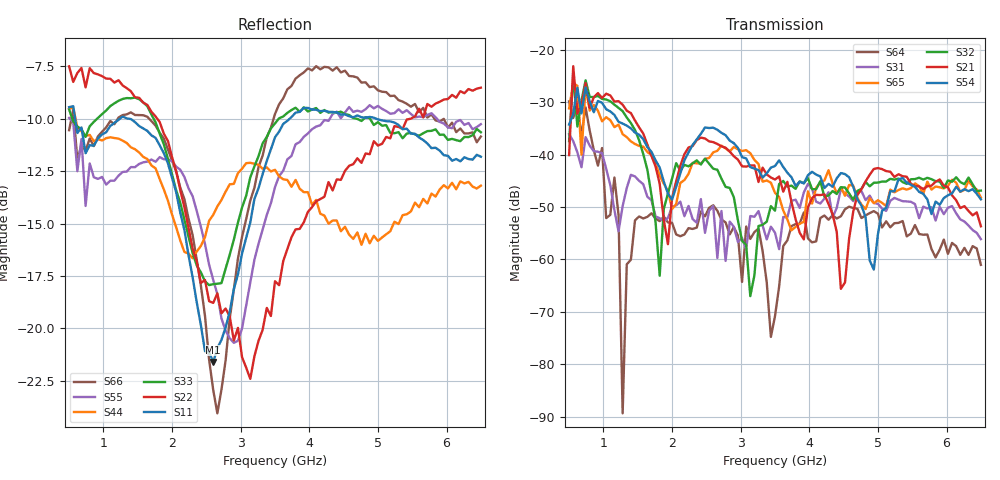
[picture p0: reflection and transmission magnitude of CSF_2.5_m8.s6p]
!Keysight Technologies,M9804A,MY58100912,A.14.10.03
!Date: Thursday, April 27, 2023 10:28:33
!Correction: S11(C  6-Port  )
!S12(C  6-Port  )
!S13(C  6-Port  )
!S14(C  6-Port  )
!S15(C  6-Port  )
!S16(C  6-Port  )
!S21(C  6-Port  )
!S22(C  6-Port  )
!S23(C  6-Port  )
!S24(C  6-Port  )
!S25(C  6-Port  )
!S26(C  6-Port  )
!S31(C  6-Port  )
!S32(C  6-Port  )
!S33(C  6-Port  )
!S34(C  6-Port  )
!S35(C  6-Port  )
!S36(C  6-Port  )
!S41(C  6-Port  )
!S42(C  6-Port  )
!S43(C  6-Port  )
!S44(C  6-Port  )
!S45(C  6-Port  )
!S46(C  6-Port  )
!S51(C  6-Port  )
!S52(C  6-Port  )
!S53(C  6-Port  )
!S54(C  6-Port  )
!S55(C  6-Port  )
!S56(C  6-Port  )
!S61(C  6-Port  )
!S62(C  6-Port  )
!S63(C  6-Port  )
!S64(C  6-Port  )
!S65(C  6-Port  )
!S66(C  6-Port  )
!S6P File: Measurement: :
# Hz S  RI  R 50
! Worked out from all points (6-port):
!   101 points, 500 MHz to 6.5 GHz, reference 50 ohm
!   strongest paths, dB at 500 MHz, 2 GHz, 3.5 GHz, 5 GHz, 6.5 GHz:
!     S54: -34.3, -48.6, -42.2, -55.2, -48.5
!     S21: -40.1, -48.3, -44.8, -42.6, -53.7
!     S32: -37.4, -44.6, -50.7, -45.3, -46.9
!     S65: -31.2, -50.4, -47.3, -48.7, -48.2
!     S31: -36.1, -50.0, -54.9, -49.4, -56.1
!     S64: -29.9, -53.0, -70.8, -51.3, -61.0
!   lowest |S11| = -21.6 dB at 2.6 GHz (marker M1), VSWR 1.18, Z = 42.6 + j1.98 ohm
!   |S11| at or under -10 dB: 587.7 MHz to 1.243 GHz (655.1 MHz wide, 71.6 % of centre); 1.359 GHz to 3.716 GHz (2.357 GHz wide, 92.9 % of centre); 4.971 GHz to end of sweep
